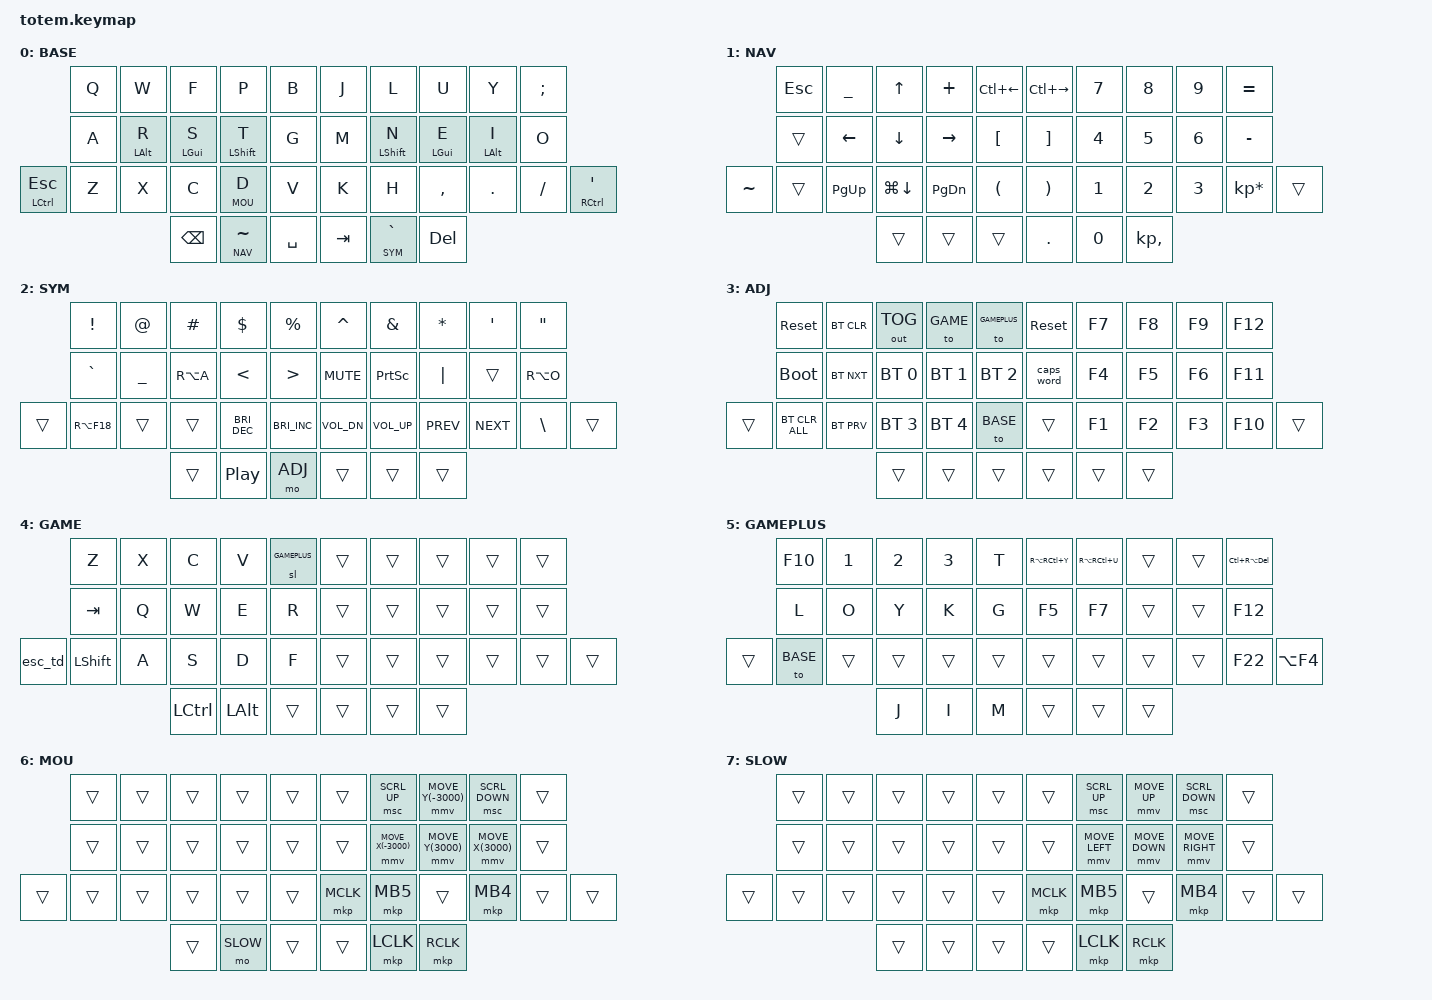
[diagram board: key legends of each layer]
#include <behaviors.dtsi>
#include <dt-bindings/zmk/bt.h>
#include <dt-bindings/zmk/keys.h>
#include <dt-bindings/zmk/outputs.h>
#include <dt-bindings/zmk/pointing.h>

#define BASE 0
#define NAV  1
#define SYM  2
#define ADJ  3
#define GAME  4
#define GAMEPLUS  5
#define MOU 6
#define SLOW 7
#define ZMK_POINTING_DEFAULT_MOVE_VAL 1000
#define ZMK_POINTING_DEFAULT_SCRL_VAL 20

&mt {
    quick-tap-ms = <160>;
    global-quick-tap;
    flavor = "tap-preferred";
    tapping-term-ms = <190>;
};

/ {
    combos {
        compatible = "zmk,combos";

        combo_esc {
            timeout-ms = <60>;
            key-positions = <0 1>;
            bindings = <&kp TAB>;
            require-prior-idle-ms = <120>;
        };

        dash {
            bindings = <&kp MINUS>;
            key-positions = <19 31>;
            timeout-ms = <70>;
        };

        tilde_combo {
            bindings = <&kp TILDE>;
            key-positions = <0 20>;
            timeout-ms = <60>;
            require-prior-idle-ms = <100>;
        };

        enter_combo {
            bindings = <&kp ENTER>;
            key-positions = <13 12 11>;
            timeout-ms = <70>;
            require-prior-idle-ms = <100>;
        };

        enter_right_combo {
            bindings = <&kp ENTER>;
            key-positions = <16 18 17>;
            timeout-ms = <70>;
            require-prior-idle-ms = <100>;
        };

        russian_letter_ {
            bindings = <&kp RIGHT_BRACKET>;
            key-positions = <8 9>;
            timeout-ms = <20>;
            require-prior-idle-ms = <100>;
        };

        russian_letter_x {
            bindings = <&kp LEFT_BRACKET>;
            key-positions = <8 7>;
            require-prior-idle-ms = <100>;
            timeout-ms = <20>;
        };

        umlaut_ue {
            bindings = <&kp RA(Y)>;
            key-positions = <7 17>;
        };

        umlaut_sz {
            bindings = <&kp RA(S)>;
            key-positions = <12 21>;
        };

        umlaut_ae {
            bindings = <&kp RA(Q)>;
            key-positions = <10 17>;
        };

        umlaut_oe {
            bindings = <&kp RA(P)>;
            key-positions = <17 19>;
        };

        pipe_combo {
            bindings = <&kp PIPE>;
            key-positions = <29 28>;
            timeout-ms = <60>;
            require-prior-idle-ms = <100>;
        };

        less_than_combo {
            bindings = <&kp LESS_THAN>;
            key-positions = <17 18>;
            timeout-ms = <60>;
            require-prior-idle-ms = <100>;
        };

        greater_than_combo {
            bindings = <&kp GREATER_THAN>;
            key-positions = <19 18>;
            timeout-ms = <60>;
            require-prior-idle-ms = <100>;
        };
    };

    behaviors {
        mt_left: mt_left {
            compatible = "zmk,behavior-hold-tap";
            label = "MT_LEFT";
            bindings = <&kp>, <&kp>;

            #binding-cells = <2>;
            tapping-term-ms = <400>;
            quick-tap-ms = <170>;
            flavor = "balanced";
            hold-trigger-key-positions = <26 27 16 15 5 6 7 5 6 7 8 9 15 16 17 18 19 26 27 28 29 31 5 6 7 8 9 15 16 17 18 19 26 27 28 29 30 31 35 36 37 32 33 34>;
            require-prior-idle-ms = <50>;
            hold-trigger-on-release;
        };

        mt_right: mt_right {
            compatible = "zmk,behavior-hold-tap";
            label = "MT_RIGHT";
            bindings = <&kp>, <&kp>;

            #binding-cells = <2>;
            tapping-term-ms = <400>;
            quick-tap-ms = <170>;
            flavor = "balanced";
            require-prior-idle-ms = <50>;
            hold-trigger-on-release;
            hold-trigger-key-positions = <0 1 4 10 11 12 13 14 20 21 22 23 24 25 2 35 36 37 3 32 33 34>;
        };

        mt_thumb: mt_thumb {
            compatible = "zmk,behavior-hold-tap";
            label = "MT_THUMB";
            bindings = <&kp>, <&kp>;

            #binding-cells = <2>;
            quick-tap-ms = <100>;
            flavor = "balanced";
            tapping-term-ms = <200>;
            require-prior-idle-ms = <0>;
        };

        mt_shift_left: mt_shift_left {
            compatible = "zmk,behavior-hold-tap";
            label = "MT_SHIFT_LEFT";
            bindings = <&kp>, <&kp>;

            #binding-cells = <2>;
            tapping-term-ms = <175>;
            quick-tap-ms = <175>;
            flavor = "tap-preferred";
            hold-trigger-key-positions = <19 26 27 29 30 31 36 37 35 36 32 33 34 5 6 7 8 9 15 16 17 18 19 26 27 28 29 31>;
            require-prior-idle-ms = <20>;
        };

        mt_shift_right: mt_shift_right {
            compatible = "zmk,behavior-hold-tap";
            label = "MT_SHIFT_RIGHT";
            bindings = <&kp>, <&kp>;

            #binding-cells = <2>;
            tapping-term-ms = <175>;
            quick-tap-ms = <175>;
            flavor = "tap-preferred";
            hold-trigger-key-positions = <0 1 2 3 4 10 11 12 13 14 20 21 22 23 24 25 32 33 34 35 36 37>;
            require-prior-idle-ms = <20>;
        };

        hold_sticky: hold_sticky {
            compatible = "zmk,behavior-hold-tap";
            label = "HOLD_STICKY";
            bindings = <&kp>, <&sk>;

            #binding-cells = <2>;
            flavor = "hold-preferred";
            tapping-term-ms = <150>;
            quick-tap-ms = <150>;
        };

        mt_all: mt_all {
            compatible = "zmk,behavior-hold-tap";
            label = "MT_ALL";
            bindings = <&kp>, <&kp>;

            #binding-cells = <2>;
            tapping-term-ms = <175>;
            quick-tap-ms = <175>;
            flavor = "balanced";
            require-prior-idle-ms = <35>;
            hold-trigger-on-release;
        };

        esc_td: esc_td {
            compatible = "zmk,behavior-tap-dance";
            label = "TD_ESC_F13";
            #binding-cells = <0>;
            tapping-term-ms = <200>;
            bindings = <&kp ESCAPE>, <&kp F13>;
        };
    };

    macros {
        nav_on: nav_on {
            compatible = "zmk,behavior-macro";
            #binding-cells = <0>;
            bindings = <&macro_press>, <&mo NAV &kp F13>;

            label = "NAV_ON";
        };

        nav_off: nav_off {
            compatible = "zmk,behavior-macro";
            #binding-cells = <0>;
            bindings = <&macro_release>, <&mo NAV &kp F13>;

            label = "NAV_OFF";
        };
    };

    keymap {
        compatible = "zmk,keymap";

        base_layer {
            label = "BASE";
            bindings = <
                             &kp Q  &kp W                  &kp F            &kp P                    &kp B        &kp J    &kp L                     &kp U             &kp Y                   &kp SEMICOLON
                             &kp A  &mt_shift_left LALT R  &mt_left LGUI S  &mt_shift_left LSHIFT T  &kp G        &kp M    &mt_shift_right LSHIFT N  &mt_right LGUI E  &mt_shift_right LALT I  &kp O
&mt_all LEFT_CONTROL ESCAPE  &kp Z  &kp X                  &kp C            &lt MOU D                &kp V        &kp K    &kp H                     &kp COMMA         &kp DOT                 &kp FSLH       &mt_all RCTRL SQT
                                                           &kp BACKSPACE    &lt NAV TILDE            &kp SPACE    &kp TAB  &lt SYM GRAVE             &kp DELETE
            >;
        };

        nav_layer {
            label = "NAV";
            bindings = <
           &kp ESCAPE  &kp UNDER       &kp UP              &kp PLUS         &kp LC(LEFT)    &kp LC(RIGHT)  &kp NUMBER_7  &kp NUMBER_8  &kp NUMBER_9  &kp EQUAL
           &trans      &kp LEFT_ARROW  &kp DOWN_ARROW      &kp RIGHT_ARROW  &kp LBKT        &kp RBKT       &kp NUMBER_4  &kp NUMBER_5  &kp NUMBER_6  &kp MINUS
&kp TILDE  &trans      &kp PG_UP       &kp LG(DOWN_ARROW)  &kp PG_DN        &kp LPAR        &kp RPAR       &kp NUMBER_1  &kp NUMBER_2  &kp NUMBER_3  &kp KP_MULTIPLY  &trans
                                       &trans              &trans           &trans          &kp PERIOD     &kp NUMBER_0  &kp KP_COMMA
            >;
        };

        sym_layer {
            label = "SYM";
            bindings = <
        &kp EXCL     &kp AT     &kp HASH   &kp DLLR          &kp PRCNT               &kp CARET     &kp AMPS         &kp ASTERISK  &kp SQT     &kp DQT
        &kp GRAVE    &kp UNDER  &kp RA(A)  &kp LESS_THAN     &kp GREATER_THAN        &kp C_MUTE    &kp PRINTSCREEN  &kp PIPE      &trans      &kp RA(O)
&trans  &kp RA(F18)  &trans     &trans     &kp C_BRI_DEC     &kp C_BRIGHTNESS_INC    &kp C_VOL_DN  &kp C_VOL_UP     &kp C_PREV    &kp C_NEXT  &kp BSLH   &trans
                                &trans     &kp C_PLAY_PAUSE  &mo ADJ                 &trans        &trans           &trans
            >;
        };

        adjust_layer {
            label = "ADJ";
            bindings = <
        &sys_reset      &bt BT_CLR  &out OUT_TOG  &to GAME      &to GAMEPLUS    &sys_reset  &kp F7  &kp F8  &kp F9  &kp F12
        &bootloader     &bt BT_NXT  &bt BT_SEL 0  &bt BT_SEL 1  &bt BT_SEL 2    &caps_word  &kp F4  &kp F5  &kp F6  &kp F11
&trans  &bt BT_CLR_ALL  &bt BT_PRV  &bt BT_SEL 3  &bt BT_SEL 4  &to BASE        &trans      &kp F1  &kp F2  &kp F3  &kp F10  &trans
                                    &trans        &trans        &trans          &trans      &trans  &trans
            >;
        };

        gaming_layer {
            label = "GAME";
            bindings = <
         &kp Z           &kp X  &kp C      &kp V         &sl GAMEPLUS    &trans  &trans  &trans  &trans  &trans
         &kp TAB         &kp Q  &kp W      &kp E         &kp R           &trans  &trans  &trans  &trans  &trans
&esc_td  &kp LEFT_SHIFT  &kp A  &kp S      &kp D         &kp F           &trans  &trans  &trans  &trans  &trans  &trans
                                &kp LCTRL  &kp LEFT_ALT  &trans          &trans  &trans  &trans
            >;
        };

        gaming_plus_layer {
            label = "GAMEPLUS";
            bindings = <
        &kp F10   &kp NUMBER_1  &kp NUMBER_2  &kp NUMBER_3  &kp T     &kp RA(RC(Y))  &kp RA(RC(U))  &trans  &trans  &kp LC(RA(DEL))
        &kp L     &kp O         &kp Y         &kp K         &kp G     &kp F5         &kp F7         &trans  &trans  &kp F12
&trans  &to BASE  &trans        &trans        &trans        &trans    &trans         &trans         &trans  &trans  &kp F22          &kp LA(F4)
                                &kp J         &kp I         &kp M     &trans         &trans         &trans
            >;
        };

        mouse_layer {
            label = "MOU";
            bindings = <
        &trans  &trans  &trans  &trans    &trans    &trans     &msc SCRL_UP        &mmv MOVE_Y(-3000)  &msc SCRL_DOWN     &trans
        &trans  &trans  &trans  &trans    &trans    &trans     &mmv MOVE_X(-3000)  &mmv MOVE_Y(3000)   &mmv MOVE_X(3000)  &trans
&trans  &trans  &trans  &trans  &trans    &trans    &mkp MCLK  &mkp MB5            &trans              &mkp MB4           &trans  &trans
                        &trans  &mo SLOW  &trans    &trans     &mkp LCLK           &mkp RCLK
            >;
        };

        mouse_slow_layer {
            label = "SLOW";
            bindings = <
        &trans  &trans  &trans  &trans  &trans    &trans     &msc SCRL_UP    &mmv MOVE_UP    &msc SCRL_DOWN   &trans
        &trans  &trans  &trans  &trans  &trans    &trans     &mmv MOVE_LEFT  &mmv MOVE_DOWN  &mmv MOVE_RIGHT  &trans
&trans  &trans  &trans  &trans  &trans  &trans    &mkp MCLK  &mkp MB5        &trans          &mkp MB4         &trans  &trans
                        &trans  &trans  &trans    &trans     &mkp LCLK       &mkp RCLK
            >;
        };
    };
};
